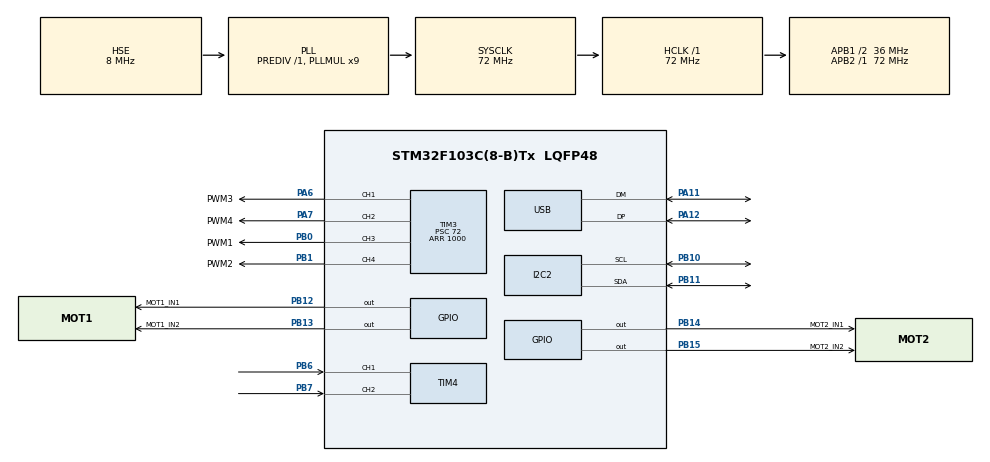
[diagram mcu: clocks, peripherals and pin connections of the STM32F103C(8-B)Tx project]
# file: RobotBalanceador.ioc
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Mcu.Family=STM32F1
Mcu.Name=STM32F103C(8-B)Tx
Mcu.Package=LQFP48
NVIC.PriorityGroup=NVIC_PRIORITYGROUP_4
NVIC.USB_LP_CAN1_RX0_IRQn=true\:0\:0\:false\:false\:true\:false\:true\:true
PA11.Mode=Device
PA11.Signal=USB_DM
PA12.Mode=Device
PA12.Signal=USB_DP
PA6.GPIO_Label=PWM3
PA6.Signal=S_TIM3_CH1
PA7.GPIO_Label=PWM4
PA7.Signal=S_TIM3_CH2
PB0.GPIO_Label=PWM1
PB0.Signal=S_TIM3_CH3
PB1.GPIO_Label=PWM2
PB1.Signal=S_TIM3_CH4
PB10.Mode=I2C
PB10.Signal=I2C2_SCL
PB11.Mode=I2C
PB11.Signal=I2C2_SDA
PB12.GPIO_Label=MOT1_IN1
PB12.Signal=GPIO_Output
PB13.GPIO_Label=MOT1_IN2
PB13.Signal=GPIO_Output
PB14.GPIO_Label=MOT2_IN1
PB14.Signal=GPIO_Output
PB15.GPIO_Label=MOT2_IN2
PB15.Signal=GPIO_Output
PB6.Signal=S_TIM4_CH1
PB7.Signal=S_TIM4_CH2
PB8.Signal=I2C1_SCL
PB9.Signal=I2C1_SDA
PD0-OSC_IN.Mode=HSE-External-Oscillator
PD0-OSC_IN.Signal=RCC_OSC_IN
PD1-OSC_OUT.Mode=HSE-External-Oscillator
PD1-OSC_OUT.Signal=RCC_OSC_OUT
ProjectManager.HeapSize=0x200
ProjectManager.StackSize=0x400
ProjectManager.TargetToolchain=STM32CubeIDE
RCC.AHBFreq_Value=72000000
RCC.APB1CLKDivider=RCC_HCLK_DIV2
RCC.APB1Freq_Value=36000000
RCC.APB1TimFreq_Value=72000000
RCC.APB2Freq_Value=72000000
RCC.APB2TimFreq_Value=72000000
RCC.HCLKFreq_Value=72000000
RCC.PLLMUL=RCC_PLL_MUL9
RCC.SYSCLKFreq_VALUE=72000000
RCC.SYSCLKSource=RCC_SYSCLKSOURCE_PLLCLK
RCC.USBFreq_Value=48000000
RCC.USBPrescaler=RCC_USBCLKSOURCE_PLL_DIV1_5
SH.S_TIM3_CH1.0=TIM3_CH1,PWM Generation1 CH1
SH.S_TIM3_CH2.0=TIM3_CH2,PWM Generation2 CH2
SH.S_TIM3_CH3.0=TIM3_CH3,PWM Generation3 CH3
SH.S_TIM3_CH4.0=TIM3_CH4,PWM Generation4 CH4
SH.S_TIM4_CH1.0=TIM4_CH1,Encoder_Interface
SH.S_TIM4_CH2.0=TIM4_CH2,Encoder_Interface
TIM3.Channel-PWM\ Generation1\ CH1=TIM_CHANNEL_1
TIM3.Channel-PWM\ Generation2\ CH2=TIM_CHANNEL_2
TIM3.Channel-PWM\ Generation3\ CH3=TIM_CHANNEL_3
TIM3.Channel-PWM\ Generation4\ CH4=TIM_CHANNEL_4
TIM3.Period=1000
TIM3.Prescaler=72
USB_DEVICE.CLASS_NAME_FS=CDC
USB_DEVICE.VirtualMode=Cdc
USB_DEVICE.VirtualModeFS=Cdc_FS
VP_SYS_VS_ND.Mode=No_Debug
VP_USB_DEVICE_VS_USB_DEVICE_CDC_FS.Mode=CDC_FS
board=custom

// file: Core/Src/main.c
/* USER CODE BEGIN Header */
/**
 ******************************************************************************
 * @file           : main.c
 * @brief          : Main program body
 ******************************************************************************
 * @attention
 *
 * Copyright (c) 2024 STMicroelectronics.
 * All rights reserved.
 *
 * This software is licensed under terms that can be found in the LICENSE file
 * in the root directory of this software component.
 * If no LICENSE file comes with this software, it is provided AS-IS.
 *
 ******************************************************************************
 */

/* REFERENCIAS
 * HAL library for GY-521 (MPU6050) with Kalman filter: https://github.com/leech001/MPU6050
 * Digital PID Controllers - Dr. Varodom Toochinda
 *
 *
 */

/* USER CODE END Header */
#include "main.h"
#include "i2c.h"
#include "tim.h"
#include "usb_device.h"
#include "gpio.h"

/* USER CODE BEGIN Includes */

#include "string.h"
#include "usbd_cdc_if.h"
#include "mpu6050.h"

/* USER CODE END Includes */

/* USER CODE BEGIN PTD */

typedef struct {
 float k1, k2, k3;
 float e0, e1, e2;
 float u_min, u_max, u;
} PID_t;

/* USER CODE END PTD */

/* USER CODE BEGIN PD */

// Macro de valor absoluto que no castea float a int
#define ABS(x) ((x >= 0)? x : -x)

/* USER CODE END PD */

/* USER CODE BEGIN PV */

uint32_t last_mpu_time = 0;
MPU6050_t MPU6050;
PID_t pid;

/* USER CODE END PV */

void SystemClock_Config(void);
/* USER CODE BEGIN PFP */

void PWM_Aplicar(float valor);
void PWM_Aplicar2(float valor);
void PID_Init(PID_t *pid, float kp, float ki, float kd, float u_min, float u_max);
float PID(PID_t *pid, float setpoint, float nueva_lectura);

/* USER CODE END PFP */

int main(void)
{

  /* MCU Configuration--------------------------------------------------------*/

  /* Reset of all peripherals, Initializes the Flash interface and the Systick. */
  HAL_Init();

  /* Configure the system clock */
  SystemClock_Config();

  /* Initialize all configured peripherals */
  MX_GPIO_Init();
  MX_USB_DEVICE_Init();
  MX_TIM4_Init();
  MX_TIM3_Init();
  MX_I2C2_Init();
  /* USER CODE BEGIN 2 */

  // Inicializar variables
  char msg[50];
  last_mpu_time = HAL_GetTick();

  // Inicialización del PWM
  HAL_TIM_PWM_Start(&htim3, TIM_CHANNEL_1);
  HAL_TIM_PWM_Start(&htim3, TIM_CHANNEL_2);
  //HAL_TIM_PWM_Start(&htim3, TIM_CHANNEL_3);  El DRV8870 utiliza 4 pines de PWM
  //HAL_TIM_PWM_Start(&htim3, TIM_CHANNEL_4);
  __HAL_TIM_SetCompare(&htim3, TIM_CHANNEL_1, 0);
  __HAL_TIM_SetCompare(&htim3, TIM_CHANNEL_2, 0);
  // __HAL_TIM_SetCompare(&htim3, TIM_CHANNEL_3, 0);
  // __HAL_TIM_SetCompare(&htim3, TIM_CHANNEL_4, 0);

  // Inicialización de timer para Encoder
  HAL_TIM_Encoder_Start(&htim4, TIM_CHANNEL_ALL);

  // Inicializar el PID
  PID_Init(&pid, 40, 0, 0, -1000, 1000);

  // Esperar para la inicialización del MPU6050
  while (MPU6050_Init(&hi2c2) == 1);

  /* USER CODE END 2 */

  /* Infinite loop */
  /* USER CODE BEGIN WHILE */
  while (1) {

    // Lectura del MPU6050 cada 100ms
    if (HAL_GetTick() - last_mpu_time > 100) {
      MPU6050_Read_All(&hi2c2, &MPU6050);

      float angulo = MPU6050.KalmanAngleY;
      float accion = PID(&pid, 0, angulo);
      PWM_Aplicar(accion);

      // Enviar a la PC
      snprintf(msg, 50, "accion=%f,angulo=%f\r\n", accion, angulo);
      CDC_Transmit_FS((uint8_t *)msg, strlen(msg));
    }

    /* USER CODE END WHILE */

  }
}

void SystemClock_Config(void)
{
  RCC_OscInitTypeDef RCC_OscInitStruct = {0};
  RCC_ClkInitTypeDef RCC_ClkInitStruct = {0};
  RCC_PeriphCLKInitTypeDef PeriphClkInit = {0};

  /** Initializes the RCC Oscillators according to the specified parameters
  * in the RCC_OscInitTypeDef structure.
  */
  RCC_OscInitStruct.OscillatorType = RCC_OSCILLATORTYPE_HSE;
  RCC_OscInitStruct.HSEState = RCC_HSE_ON;
  RCC_OscInitStruct.HSEPredivValue = RCC_HSE_PREDIV_DIV1;
  RCC_OscInitStruct.HSIState = RCC_HSI_ON;
  RCC_OscInitStruct.PLL.PLLState = RCC_PLL_ON;
  RCC_OscInitStruct.PLL.PLLSource = RCC_PLLSOURCE_HSE;
  RCC_OscInitStruct.PLL.PLLMUL = RCC_PLL_MUL9;
  if (HAL_RCC_OscConfig(&RCC_OscInitStruct) != HAL_OK)
  {
    Error_Handler();
  }

  /** Initializes the CPU, AHB and APB buses clocks
  */
  RCC_ClkInitStruct.ClockType = RCC_CLOCKTYPE_HCLK|RCC_CLOCKTYPE_SYSCLK
                              |RCC_CLOCKTYPE_PCLK1|RCC_CLOCKTYPE_PCLK2;
  RCC_ClkInitStruct.SYSCLKSource = RCC_SYSCLKSOURCE_PLLCLK;
  RCC_ClkInitStruct.AHBCLKDivider = RCC_SYSCLK_DIV1;
  RCC_ClkInitStruct.APB1CLKDivider = RCC_HCLK_DIV2;
  RCC_ClkInitStruct.APB2CLKDivider = RCC_HCLK_DIV1;

  if (HAL_RCC_ClockConfig(&RCC_ClkInitStruct, FLASH_LATENCY_2) != HAL_OK)
  {
    Error_Handler();
  }
  PeriphClkInit.PeriphClockSelection = RCC_PERIPHCLK_USB;
  PeriphClkInit.UsbClockSelection = RCC_USBCLKSOURCE_PLL_DIV1_5;
  if (HAL_RCCEx_PeriphCLKConfig(&PeriphClkInit) != HAL_OK)
  {
    Error_Handler();
  }
}

/* USER CODE BEGIN 4 */

// Aplicar PWM a los motores, si el valor es negativo va en el otro sentido
void PWM_Aplicar(float valor) {
  // Duty va de 0 a 1000

  // Convertir valor a entero
  uint16_t entero = (uint16_t)ABS(valor);

  // Limitar de 0 a 1000
  entero = (entero > 1000)? 1000 : entero;
  __HAL_TIM_SetCompare(&htim3, TIM_CHANNEL_1, entero);
  __HAL_TIM_SetCompare(&htim3, TIM_CHANNEL_2, entero);

  if (valor >= 0.0) {
    //Motor Derecho
    HAL_GPIO_WritePin(MOT1_IN1_GPIO_Port, MOT1_IN1_Pin, 1); //Giro Horario
    HAL_GPIO_WritePin(MOT1_IN2_GPIO_Port, MOT1_IN2_Pin, 0); //Grio Antihorario
    //Motor Izquierdo
    HAL_GPIO_WritePin(MOT2_IN1_GPIO_Port, MOT2_IN1_Pin, 1); //Giro Horario
    HAL_GPIO_WritePin(MOT2_IN2_GPIO_Port, MOT2_IN2_Pin, 0); //Grio Antihorario
  } else {
    //Motor Derecho
    HAL_GPIO_WritePin(MOT1_IN1_GPIO_Port, MOT1_IN1_Pin, 0); //Giro Horario
    HAL_GPIO_WritePin(MOT1_IN2_GPIO_Port, MOT1_IN2_Pin, 1); //Grio Antihorario
    //Motor Izquierdo
    HAL_GPIO_WritePin(MOT2_IN1_GPIO_Port, MOT2_IN1_Pin, 0); //Giro Horario
    HAL_GPIO_WritePin(MOT2_IN2_GPIO_Port, MOT2_IN2_Pin, 1); //Grio Antihorario
  }
}

// Aplicar PWM a los motores utilizando el puente H DRV8870
void PWM_Aplicar2(float valor) {
  // Duty va de 0 a 1000

  // Convertir valor a entero
  uint16_t entero = (uint16_t)ABS(valor);

  // Limitar de 0 a 1000
  entero = (entero > 1000)? 1000 : entero;

  if (valor >= 0.0) {
    // Motor Derecho
    __HAL_TIM_SetCompare(&htim3, TIM_CHANNEL_1, entero);
    __HAL_TIM_SetCompare(&htim3, TIM_CHANNEL_2, 0);

    // Motor Izquierdo
    __HAL_TIM_SetCompare(&htim3, TIM_CHANNEL_3, entero);
    __HAL_TIM_SetCompare(&htim3, TIM_CHANNEL_4, 0);

  } else {
    // Motor Derecho
    __HAL_TIM_SetCompare(&htim3, TIM_CHANNEL_1, 0);
    __HAL_TIM_SetCompare(&htim3, TIM_CHANNEL_2, entero);

    // Motor Izquierdo
    __HAL_TIM_SetCompare(&htim3, TIM_CHANNEL_3, 0);
    __HAL_TIM_SetCompare(&htim3, TIM_CHANNEL_4, entero);
  }
}

void PID_Init(PID_t *pid, float kp, float ki, float kd, float u_min, float u_max) {
  pid->k1 = kp + ki + kd;
  pid->k2 = -kp - 2*kd;
  pid->k3 = kd;
  pid->e1 = 0.0;
  pid->e2 = 0.0;
  pid->u_min = u_min;
  pid->u_max = u_max;
  pid->u = 0.0;
}

// Cálculo de la acción del PID
float PID(PID_t *pid, float setpoint, float nueva_lectura) {
  pid->e2 = pid->e1;
  pid->e1 = pid->e0;

  pid->e0 = setpoint - nueva_lectura;
  float delta_u = pid->k1*pid->e0 + pid->k2*pid->e1 + pid->k3*pid->e2;
  pid->u = pid->u + delta_u;

  if (pid->u > pid->u_max) pid->u = pid->u_max;
  if (pid->u < pid->u_min) pid->u = pid->u_min;

  return pid->u;
}

/* USER CODE END 4 */

void Error_Handler(void)
{
  __disable_irq();
  while (1) {
  }
}
